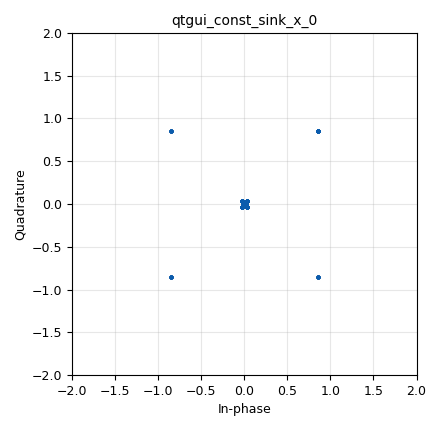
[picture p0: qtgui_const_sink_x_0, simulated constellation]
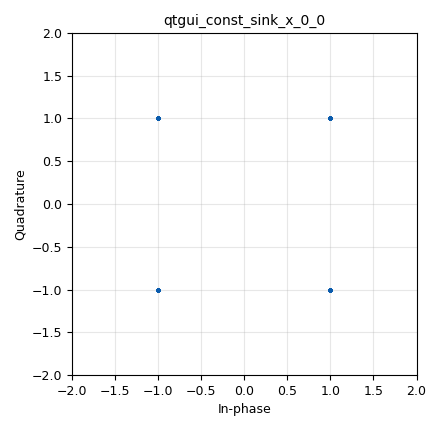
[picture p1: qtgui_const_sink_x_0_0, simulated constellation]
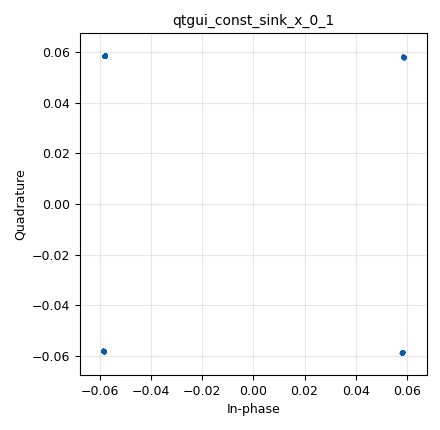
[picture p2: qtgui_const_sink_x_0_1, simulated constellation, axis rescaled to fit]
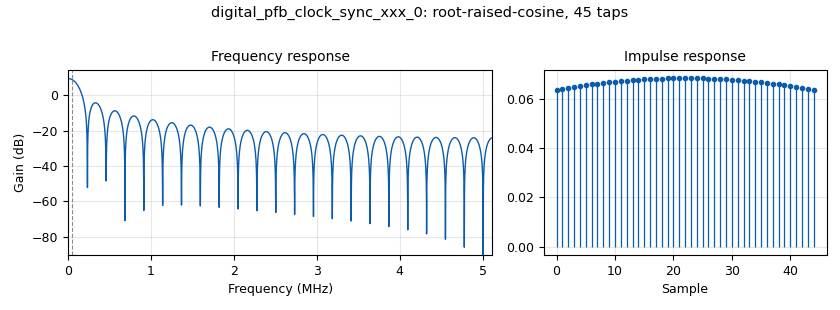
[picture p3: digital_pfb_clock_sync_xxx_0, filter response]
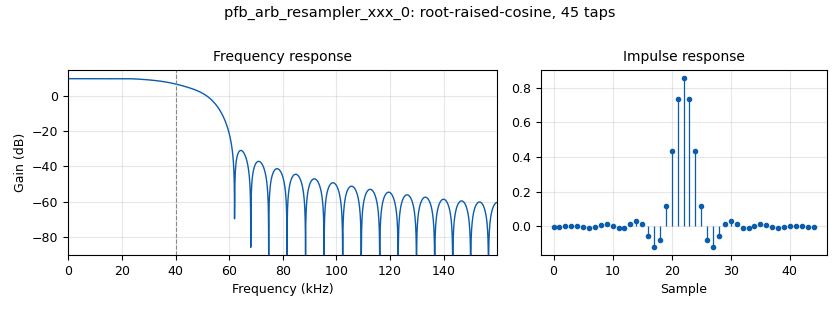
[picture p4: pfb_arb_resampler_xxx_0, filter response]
options:
  parameters:
    generate_options: qt_gui
    id: lab10_1a
    output_language: python
    title: Not titled yet
  states: {}

blocks:
- name: samp_rate
  id: variable
  parameters:
    value: '320000'
  states: {}
- name: sps
  id: variable
  parameters:
    value: '4'
  states: {}
- name: symb_rate
  id: variable
  parameters:
    value: samp_rate//sps
  states: {}
- name: analog_random_source_x_0
  id: analog_random_source_x
  parameters:
    max: '4'
    min: '0'
    num_samps: '1000'
    repeat: 'True'
    type: byte
  states: {}
- name: analog_sig_source_x_0
  id: analog_sig_source_x
  parameters:
    amp: '1'
    freq: '0.1'
    offset: '0'
    phase: '0'
    samp_rate: samp_rate
    type: complex
    waveform: analog.GR_SIN_WAVE
  states: {}
- name: blocks_multiply_xx_0
  id: blocks_multiply_xx
  parameters:
    type: complex
  states: {}
- name: digital_chunks_to_symbols_xx_0
  id: digital_chunks_to_symbols_xx
  parameters:
    dimension: '1'
    in_type: byte
    out_type: complex
    symbol_table: '[1+1j, -1 + 1j, -1 -1j, 1-1j]'
  states: {}
- name: digital_pfb_clock_sync_xxx_0
  id: digital_pfb_clock_sync_xxx
  parameters:
    filter_size: '32'
    init_phase: '16'
    loop_bw: (2*math.pi)/100
    max_dev: '1.5'
    osps: '1'
    sps: sps
    taps: firdes.root_raised_cosine(3,32*sps*symb_rate,symb_rate,0.5,11*sps)
    type: ccf
  states: {}
- name: import_0
  id: import
  parameters:
    imports: import math
  states: {}
- name: mytabs
  id: qtgui_tab_widget
  parameters:
    label0: Tab 0
    label1: Tab 1
    label2: Tab 2
    label3: Tab 3
    label4: Tab 4
    label5: Tab 5
    label6: Tab 6
    label7: Tab 7
    label8: Tab 8
    label9: Tab 9
    num_tabs: '10'
  states: {}
- name: pfb_arb_resampler_xxx_0
  id: pfb_arb_resampler_xxx
  parameters:
    atten: '100'
    nfilts: '32'
    rrate: sps
    taps: firdes.root_raised_cosine(3,sps*symb_rate,symb_rate,0.5,11*sps)
    type: ccf
  states: {}
- name: qtgui_const_sink_x_0
  id: qtgui_const_sink_x
  parameters:
    gui_hint: mytabs@0
    size: '1024'
    type: complex
  states: {}
- name: qtgui_const_sink_x_0_0
  id: qtgui_const_sink_x
  parameters:
    gui_hint: mytabs@1
    size: '1024'
    type: complex
  states: {}
- name: qtgui_const_sink_x_0_1
  id: qtgui_const_sink_x
  parameters:
    gui_hint: mytabs@2
    size: '1024'
    type: complex
  states: {}

connections:
- [analog_random_source_x_0, '0', digital_chunks_to_symbols_xx_0, '0']
- [analog_sig_source_x_0, '0', blocks_multiply_xx_0, '1']
- [blocks_multiply_xx_0, '0', digital_pfb_clock_sync_xxx_0, '0']
- [digital_chunks_to_symbols_xx_0, '0', pfb_arb_resampler_xxx_0, '0']
- [digital_chunks_to_symbols_xx_0, '0', qtgui_const_sink_x_0_0, '0']
- [digital_pfb_clock_sync_xxx_0, '0', qtgui_const_sink_x_0_1, '0']
- [pfb_arb_resampler_xxx_0, '0', blocks_multiply_xx_0, '0']
- [pfb_arb_resampler_xxx_0, '0', qtgui_const_sink_x_0, '0']

metadata:
  file_format: 1
